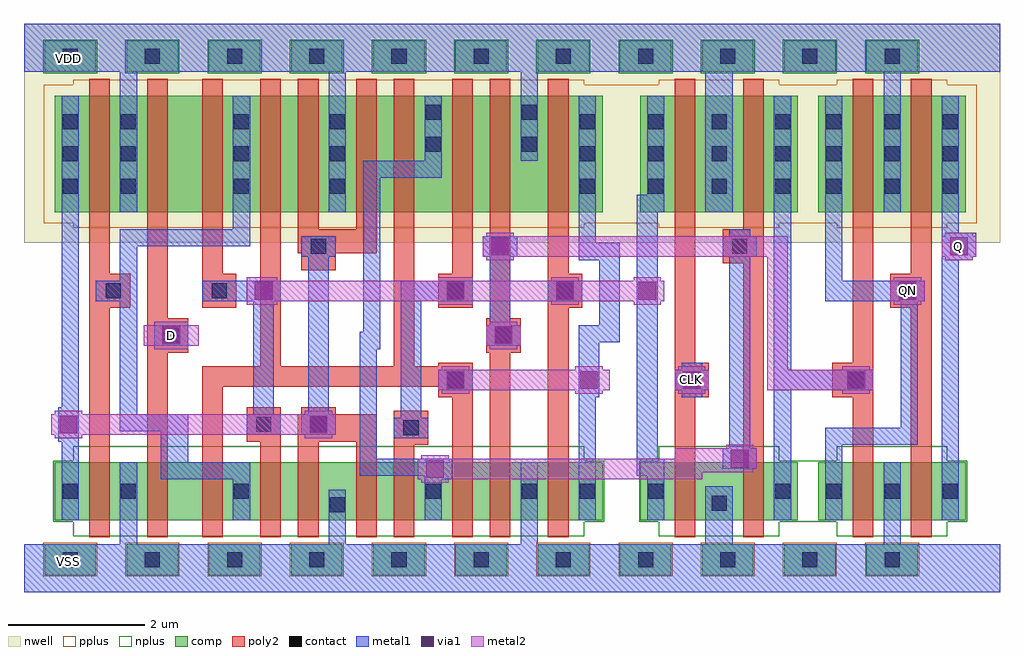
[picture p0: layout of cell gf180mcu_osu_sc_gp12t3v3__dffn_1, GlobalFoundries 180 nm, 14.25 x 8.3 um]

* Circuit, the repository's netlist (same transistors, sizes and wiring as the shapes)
* Copyright 2022 Google LLC
*
* Licensed under the Apache License, Version 2.0 (the "License");
* you may not use this file except in compliance with the License.
* You may obtain a copy of the License at
*
*      http://www.apache.org/licenses/LICENSE-2.0
*
* Unless required by applicable law or agreed to in writing, software
* distributed under the License is distributed on an "AS IS" BASIS,
* WITHOUT WARRANTIES OR CONDITIONS OF ANY KIND, either express or implied.
* See the License for the specific language governing permissions and
* limitations under the License.

* NGSPICE file created from gf180mcu_osu_sc_gp12t3v3__dffn_1.ext - technology: gf180mcuC

.subckt gf180mcu_osu_sc_gp12t3v3__dffn_1 Q QN D CLK VDD VSS
X0 a_19_16# a_52_83# a_42_111# VDD pfet_03p3 w=1.7u l=0.3u
X1 a_75_111# a_52_16# a_19_16# VDD pfet_03p3 w=1.7u l=0.3u
X2 a_131_21# a_52_16# a_114_21# VSS nfet_03p3 w=0.85u l=0.3u
X3 a_42_111# D VDD VDD pfet_03p3 w=1.7u l=0.3u
X4 VDD a_19_16# a_9_21# VDD pfet_03p3 w=1.7u l=0.3u
X5 VDD a_135_70# QN VDD pfet_03p3 w=1.7u l=0.3u
X6 Q QN VDD VDD pfet_03p3 w=1.7u l=0.3u
X7 a_75_21# a_52_83# a_19_16# VSS nfet_03p3 w=0.85u l=0.3u
X8 VSS a_135_70# a_131_21# VSS nfet_03p3 w=0.85u l=0.3u
X9 Q QN VSS VSS nfet_03p3 w=0.85u l=0.3u
X10 a_19_16# a_52_16# a_42_21# VSS nfet_03p3 w=0.85u l=0.3u
X11 VSS a_19_16# a_9_21# VSS nfet_03p3 w=0.85u l=0.3u
X12 VSS a_135_70# QN VSS nfet_03p3 w=0.85u l=0.3u
X13 a_52_16# a_52_83# VDD VDD pfet_03p3 w=1.7u l=0.3u
X14 VDD a_135_70# a_131_111# VDD pfet_03p3 w=1.7u l=0.3u
X15 VSS CLK a_52_83# VSS nfet_03p3 w=0.85u l=0.3u
X16 a_131_111# a_52_83# a_114_21# VDD pfet_03p3 w=1.7u l=0.3u
X17 a_114_21# a_52_16# a_103_111# VDD pfet_03p3 w=1.7u l=0.3u
X18 a_114_21# a_52_83# a_103_21# VSS nfet_03p3 w=0.85u l=0.3u
X19 a_135_70# a_114_21# VDD VDD pfet_03p3 w=1.7u l=0.3u
X20 a_52_16# a_52_83# VSS VSS nfet_03p3 w=0.85u l=0.3u
X21 a_42_21# D VSS VSS nfet_03p3 w=0.85u l=0.3u
X22 VDD a_9_21# a_75_111# VDD pfet_03p3 w=1.7u l=0.3u
X23 a_103_111# a_9_21# VDD VDD pfet_03p3 w=1.7u l=0.3u
X24 a_103_21# a_9_21# VSS VSS nfet_03p3 w=0.85u l=0.3u
X25 a_135_70# a_114_21# VSS VSS nfet_03p3 w=0.85u l=0.3u
X26 VSS a_9_21# a_75_21# VSS nfet_03p3 w=0.85u l=0.3u
X27 VDD CLK a_52_83# VDD pfet_03p3 w=1.7u l=0.3u
.ends

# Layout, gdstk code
import gdstk
lib = gdstk.Library(unit=1e-6, precision=1e-09)
def R(c, l, rs):  # rectangles x0, y0, x1, y1
    for r in rs: c.add(gdstk.rectangle(r[:2], r[2:], *l))
def A(c, l, x, y, w, h, nx, ny, dx, dy):  # array of equal rectangles
    R(c, l, [(x+i*dx, y+j*dy, x+i*dx+w, y+j*dy+h) for i in range(nx) for j in range(ny)])
nwell = (21, 0)
comp = (22, 0)
poly2 = (30, 0)
pplus = (31, 0)
nplus = (32, 0)
contact = (33, 0)
metal1 = (34, 0)
via1 = (35, 0)
metal2 = (36, 0)

gf180mcu_osu_sc_gp12t3v3 = lib.new_cell('gf180mcu_osu_sc_gp12t3v3__dffn_1')
R(gf180mcu_osu_sc_gp12t3v3, nwell, [(0,5.1,14.25,8.3)])
A(gf180mcu_osu_sc_gp12t3v3, comp, 0.3, 0.25, 0.75, 0.45, 11, 2, 1.2, 7.35)
R(gf180mcu_osu_sc_gp12t3v3, comp, [(0.45,1.05,8.45,1.9), (9,1.05,11.3,1.9), (11.6,1.05,13.75,1.9), (0.45,5.55,8.45,7.25), (9,5.55,11.3,7.25), (11.6,5.55,13.75,7.25)])
R(gf180mcu_osu_sc_gp12t3v3, poly2, [(0.95,0.8,1.25,4.15), (1.8,0.8,2.1,3.5), (2.6,0.8,2.9,3), (3.45,0.8,3.75,2.2), (4,0.8,4.3,2.2), (4.85,0.8,5.15,2.2), (5.4,0.8,5.7,2.15), (6.25,0.8,6.55,2.85), (6.8,0.8,7.1,3.5), (7.65,0.8,7.95,4.15), (9.5,0.8,9.8,2.85), (10.5,0.8,10.8,4.8), (12.1,0.8,12.4,2.85), (12.95,0.8,13.25,4.15), (5.4,2.15,5.9,2.65), (3.25,2.2,3.75,2.7), (4,2.2,5.15,2.6), (4.05,2.6,4.55,2.7), (6.05,2.85,6.55,3), (9.5,2.85,10,3.35), (11.8,2.85,12.4,3.35), (2.6,3,6.55,3.3), (3.45,3.3,3.75,7.5), (5.4,3.3,5.7,7.5), (6.05,3.3,6.55,3.35), (9.5,3.35,9.8,7.5), (12.1,3.35,12.4,7.5), (1.8,3.5,2.4,4), (6.75,3.5,7.25,4), (1.8,4,2.1,7.5), (6.8,4,7.1,7.5), (0.95,4.15,1.55,4.65), (2.6,4.15,3.1,4.65), (6.05,4.15,6.55,4.65), (7.65,4.15,8.15,4.65), (12.65,4.15,13.25,4.65), (0.95,4.65,1.25,7.5), (2.6,4.65,2.9,7.5), (6.25,4.65,6.55,7.5), (7.65,4.65,7.95,7.5), (12.95,4.65,13.25,7.5), (4.05,4.7,4.55,4.95), (10.2,4.8,10.8,5.3), (4,4.95,5.15,5.3), (4,5.3,4.3,7.5), (4.85,5.3,5.15,7.5), (10.5,5.3,10.8,7.5)])
A(gf180mcu_osu_sc_gp12t3v3, pplus, 0.28, 0.23, 0.79, 0.49, 11, 1, 1.2, 0)
R(gf180mcu_osu_sc_gp12t3v3, pplus, [(0.72,5.32,8.18,5.39), (9.27,5.32,11.03,5.39), (11.87,5.32,13.48,5.39), (0.29,5.39,13.91,7.41), (0.72,7.41,8.18,7.48), (9.27,7.41,11.03,7.48), (11.87,7.41,13.48,7.48)])
A(gf180mcu_osu_sc_gp12t3v3, nplus, 0.28, 7.58, 0.79, 0.49, 11, 1, 1.2, 0)
R(gf180mcu_osu_sc_gp12t3v3, nplus, [(0.72,0.82,8.18,1.03), (9.27,0.82,11.03,1.03), (11.87,0.82,13.48,1.03), (0.43,1.03,8.47,1.92), (8.98,1.03,13.77,1.92), (0.72,1.92,8.18,2.13), (9.27,1.92,11.03,2.13), (11.87,1.92,13.48,2.13)])
A(gf180mcu_osu_sc_gp12t3v3, contact, 0.565, 0.365, 0.22, 0.22, 11, 2, 1.2, 7.35)
A(gf180mcu_osu_sc_gp12t3v3, contact, 11.715, 1.365, 0.22, 0.22, 3, 2, 0.85, 4.455)
A(gf180mcu_osu_sc_gp12t3v3, contact, 0.565, 5.82, 0.22, 0.22, 1, 3, 0, 0.47)
A(gf180mcu_osu_sc_gp12t3v3, contact, 1.415, 5.82, 0.22, 0.22, 1, 3, 0, 0.47)
A(gf180mcu_osu_sc_gp12t3v3, contact, 3.065, 5.82, 0.22, 0.22, 1, 3, 0, 0.47)
A(gf180mcu_osu_sc_gp12t3v3, contact, 4.465, 5.82, 0.22, 0.22, 1, 3, 0, 0.47)
A(gf180mcu_osu_sc_gp12t3v3, contact, 8.115, 5.82, 0.22, 0.22, 1, 3, 0, 0.47)
A(gf180mcu_osu_sc_gp12t3v3, contact, 9.115, 5.82, 0.22, 0.22, 3, 3, 0.925, 0.47)
A(gf180mcu_osu_sc_gp12t3v3, contact, 11.715, 6.29, 0.22, 0.22, 3, 2, 0.85, 0.47)
R(gf180mcu_osu_sc_gp12t3v3, contact, [(4.465,1.165,4.685,1.385), (10.04,1.19,10.26,1.41), (0.565,1.365,0.785,1.585), (1.415,1.365,1.635,1.585), (3.065,1.365,3.285,1.585), (5.865,1.365,6.085,1.585), (7.265,1.365,7.485,1.585), (8.115,1.365,8.335,1.585), (9.115,1.365,9.335,1.585), (10.965,1.365,11.185,1.585), (5.54,2.29,5.76,2.51), (3.39,2.34,3.61,2.56), (4.19,2.34,4.41,2.56), (6.19,2.99,6.41,3.21), (9.64,2.99,9.86,3.21), (12.04,2.99,12.26,3.21), (2.04,3.64,2.26,3.86), (6.89,3.64,7.11,3.86), (1.19,4.29,1.41,4.51), (2.74,4.29,2.96,4.51), (6.19,4.29,6.41,4.51), (7.79,4.29,8.01,4.51), (12.79,4.29,13.01,4.51), (4.19,4.94,4.41,5.16), (10.34,4.94,10.56,5.16), (5.865,6.43,6.085,6.65), (7.265,6.43,7.485,6.65), (5.865,6.9,6.085,7.12), (7.265,6.9,7.485,7.12)])
R(gf180mcu_osu_sc_gp12t3v3, metal1, [(0,0,14.25,0.7), (1.4,0.7,1.65,1.9), (4.45,0.7,4.7,1.5), (7.25,0.7,7.5,1.9), (9.95,0.7,10.35,1.55), (12.55,0.7,12.8,1.9), (0.55,1.05,0.8,2.2), (3.05,1.05,3.3,1.65), (5.85,1.05,6.1,1.65), (8.1,1.05,8.35,2.85), (9.1,1.05,9.35,1.7), (10.95,1.05,11.2,2.95), (11.7,1.05,11.95,2.15), (13.4,1.05,13.65,4.85), (2,1.65,3.3,1.9), (5.85,1.65,6.25,1.7), (4.9,1.7,6.25,1.95), (8.95,1.7,9.35,1.95), (10.2,1.8,10.7,2.1), (2,1.9,2.4,2.35), (4.9,1.95,5.15,3.55), (8.95,1.95,9.25,5.55), (10.3,2.1,10.6,4.9), (11.7,2.15,13.05,2.4), (0.5,2.2,0.8,2.7), (5.4,2.25,5.9,2.55), (3.25,2.3,3.75,2.6), (4.05,2.3,4.55,2.6), (1.4,2.35,2.4,2.6), (12.8,2.4,13.05,4.25), (5.5,2.55,5.8,4.25), (1.4,2.6,1.65,4.25), (3.35,2.6,3.65,4.25), (4.15,2.6,4.45,4.9), (0.55,2.7,0.8,7.25), (8.1,2.85,8.4,3.65), (9.6,2.85,9.9,2.95), (6.05,2.95,6.55,3.25), (9.5,2.95,10,3.25), (10.95,2.95,12.4,3.25), (9.6,3.25,9.9,3.35), (10.95,3.25,11.2,7.25), (4.9,3.55,5.2,3.8), (1.9,3.6,2.4,3.9), (6.75,3.6,7.25,3.9), (8.1,3.65,8.7,3.9), (4.95,3.8,5.2,6.05), (6.8,3.9,7.1,4.9), (8.4,3.9,8.7,4.85), (1.05,4.25,1.65,4.55), (2.6,4.25,3.75,4.55), (5.5,4.25,6.55,4.55), (7.65,4.25,8.15,4.55), (11.7,4.25,13.15,4.55), (1.4,4.55,1.65,5.05), (11.7,4.55,11.95,7.25), (8.1,4.85,8.7,5.1), (13.4,4.85,13.85,4.9), (4.05,4.9,4.55,5.2), (6.7,4.9,7.2,5.2), (10.2,4.9,10.7,5.2), (13.4,4.9,13.9,5.25), (1.4,5.05,3.3,5.3), (8.1,5.1,8.35,7.25), (10.3,5.2,10.6,5.3), (13.4,5.25,13.65,7.25), (3.05,5.3,3.3,7.25), (1.4,5.55,1.65,7.6), (4.45,5.55,4.7,7.6), (8.95,5.55,9.35,5.8), (9.95,5.55,10.35,7.6), (12.55,5.55,12.8,7.6), (9.1,5.8,9.35,7.25), (4.95,6.05,6.1,6.3), (5.85,6.3,6.1,7.25), (7.25,6.3,7.5,7.6), (0,7.6,14.25,8.3)])
R(gf180mcu_osu_sc_gp12t3v3, via1, [(5.87,1.67,6.13,1.93), (10.32,1.82,10.58,2.08), (0.52,2.32,0.78,2.58), (4.17,2.32,4.43,2.58), (6.17,2.97,6.43,3.23), (8.12,2.97,8.38,3.23), (9.62,2.97,9.88,3.23), (12.02,2.97,12.28,3.23), (2.02,3.62,2.28,3.88), (6.87,3.62,7.13,3.88), (3.37,4.27,3.63,4.53), (6.17,4.27,6.43,4.53), (7.77,4.27,8.03,4.53), (8.97,4.27,9.23,4.53), (12.77,4.27,13.03,4.53), (6.82,4.92,7.08,5.18), (13.52,4.92,13.78,5.18)])
R(gf180mcu_osu_sc_gp12t3v3, metal2, [(5.8,1.6,6.2,1.65), (5.75,1.65,9.9,1.75), (5.75,1.75,10.65,1.8), (5.75,1.8,10.7,1.95), (5.8,1.95,6.2,2), (9.5,1.95,10.7,2.1), (10.25,2.1,10.65,2.15), (0.45,2.25,0.85,2.3), (4.1,2.25,4.5,2.3), (0.4,2.3,4.55,2.6), (0.45,2.6,0.85,2.65), (4.1,2.6,4.5,2.65), (6.1,2.9,6.5,2.95), (8.05,2.9,8.45,2.95), (9.55,2.9,9.95,2.95), (11.95,2.9,12.35,2.95), (6.05,2.95,8.55,3.25), (9.5,2.95,10,3.25), (10.85,2.95,12.4,3.25), (6.1,3.25,6.5,3.3), (8.05,3.25,8.45,3.3), (9.55,3.25,9.95,3.3), (10.85,3.25,11.15,4.9), (11.95,3.25,12.35,3.3), (1.9,3.55,2.4,3.6), (6.8,3.55,7.2,3.6), (1.75,3.6,2.55,3.9), (6.75,3.6,7.25,3.9), (1.9,3.9,2.4,3.95), (6.8,3.9,7.2,3.95), (3.25,4.2,3.7,4.25), (6.05,4.2,6.55,4.25), (7.7,4.2,8.1,4.25), (8.9,4.2,9.3,4.25), (12.7,4.2,13.1,4.25), (3.25,4.25,9.35,4.55), (12.65,4.25,13.15,4.55), (3.25,4.55,3.7,4.6), (6.05,4.55,6.55,4.6), (7.7,4.55,8.1,4.6), (8.9,4.55,9.3,4.6), (12.7,4.55,13.1,4.6), (6.75,4.85,7.15,4.9), (13.45,4.85,13.85,4.9), (6.7,4.9,11.15,5.2), (13.4,4.9,13.9,5.2), (6.75,5.2,7.15,5.25), (13.45,5.2,13.85,5.25)])
gf180mcu_osu_sc_gp12t3v3.add(gdstk.Label('Q', (13.65,5.05), layer=36, texttype=10))
gf180mcu_osu_sc_gp12t3v3.add(gdstk.Label('QN', (12.9,4.4), layer=36, texttype=10))
gf180mcu_osu_sc_gp12t3v3.add(gdstk.Label('D', (2.15,3.75), layer=36, texttype=10))
gf180mcu_osu_sc_gp12t3v3.add(gdstk.Label('CLK', (9.75,3.1), layer=36, texttype=10))
gf180mcu_osu_sc_gp12t3v3.add(gdstk.Label('VDD', (0.65,7.8), layer=34, texttype=10))
gf180mcu_osu_sc_gp12t3v3.add(gdstk.Label('VSS', (0.65,0.45), layer=34, texttype=10))

lib.write_gds('gf180mcu_osu_sc_gp12t3v3__dffn_1.gds')
